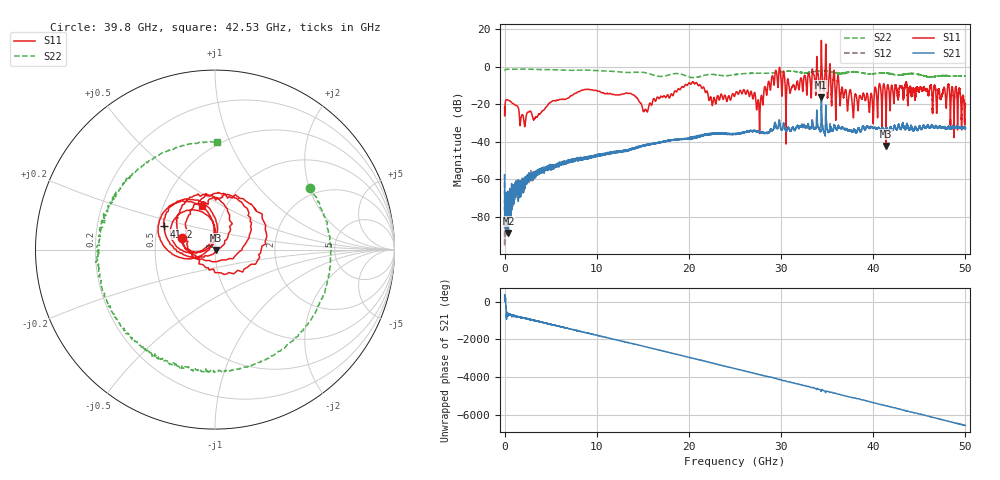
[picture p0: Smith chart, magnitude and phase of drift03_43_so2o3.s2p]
!Created with skrf (http://scikit-rf.org).
# Hz S RI R 50.0
!freq ReS11 ImS11 ReS21 ImS21 ReS12 ImS12 ReS22 ImS22
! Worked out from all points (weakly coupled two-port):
!   10001 points, 300 kHz to 50 GHz, reference 50 ohm
!   highest |S21| = -16.42 dB at 34.37 GHz (marker M1); lowest = -88.5 dB at 410.3 MHz (marker M2)
!   lowest |S11| = -42.3 dB at 41.4 GHz (marker M3), VSWR 1.02, Z = 50.7 - j0.215 ohm
!   |S11| at or under -10 dB: start of sweep to 19.55 GHz; 21.25 GHz to 28.55 GHz (7.297 GHz wide, 29.3 % of centre); 36.29 GHz to 40.62 GHz (4.336 GHz wide, 11.3 % of centre) (the widest 3 of 47)
!   |S22| runs from -5.9 to -1.3 dB; largest |S21 - S12| = 0.029
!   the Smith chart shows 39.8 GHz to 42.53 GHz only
!   S11 on the Smith chart (normalised r, x): 39.8 GHz: 0.69, +0.09; 41.2 GHz: 0.54, +0.15; 42.53 GHz: 0.78, +0.40
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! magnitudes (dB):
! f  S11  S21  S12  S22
! 300 kHz  -21.6  -57.8  -57.1  -2.1
! 410.3 MHz  -18.0  -88.5  -69.2  -1.5
! 3.3 GHz  -27.3  -58.6  -57.6  -1.5
! 8.335 GHz  -12.6  -48.7  -49.2  -1.9
! 13.76 GHz  -14.5  -44.2  -43.6  -3.1
! 15.29 GHz  -22.8  -42.1  -41.7  -3.3
! 16.67 GHz  -16.5  -40.7  -40.6  -5.2
! 20.26 GHz  -9.1  -38.3  -38.0  -5.8
! 22.71 GHz  -16.4  -35.8  -35.5  -4.2
! 25 GHz  -15.3  -35.8  -35.9  -4.3
! 26.95 GHz  -17.3  -34.5  -34.6  -3.5
! 27.52 GHz  -17.8  -34.6  -34.3  -3.5
! 29.28 GHz  -8.2  -31.0  -30.4  -3.3
! 30.73 GHz  -6.5  -32.5  -32.5  -2.5
! 33.34 GHz  -7.3  -31.4  -31.2  -2.9
! 34.37 GHz  13.9  -16.4  -17.9  -2.3
! 39.8 GHz  -14.3  -32.2  -32.0  -4.0
! 41.2 GHz  -10.1  -34.0  -33.9  -3.3
! 41.4 GHz  -42.3  -32.8  -32.8  -3.5
! 41.67 GHz  -11.5  -34.3  -34.1  -3.6
! 42.53 GHz  -12.0  -33.4  -33.5  -4.5
! 50 GHz  -19.5  -32.5  -32.5  -4.9
